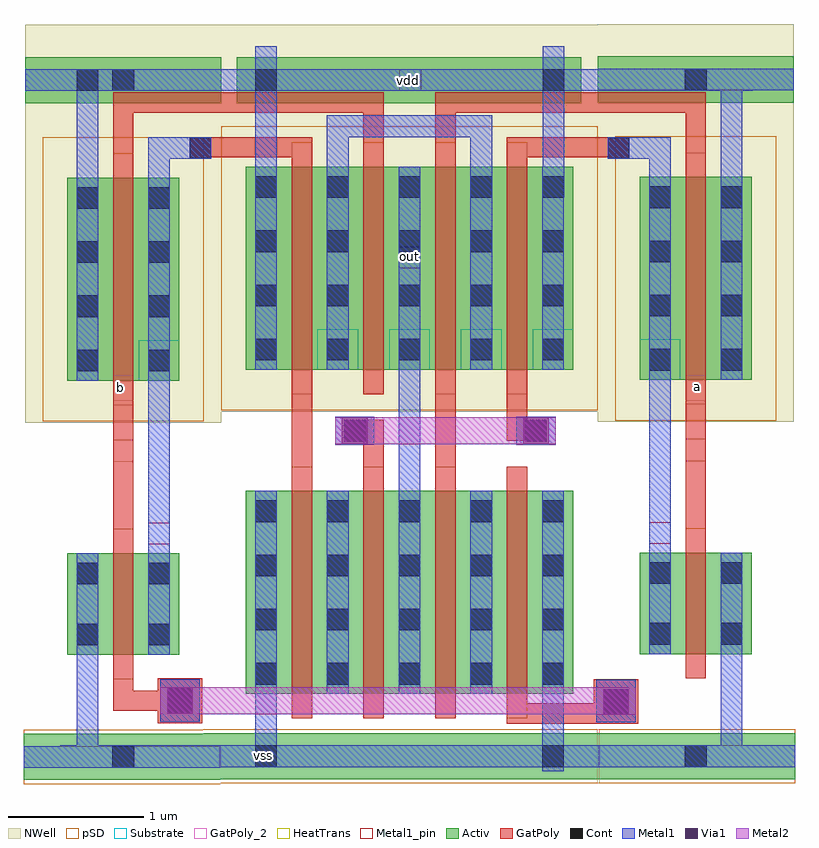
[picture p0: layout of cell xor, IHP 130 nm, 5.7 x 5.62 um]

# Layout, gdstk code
from math import pi, radians
import gdstk
lib = gdstk.Library(unit=1e-6, precision=5e-09)
def R(c, l, rs):  # rectangles x0, y0, x1, y1
    for r in rs: c.add(gdstk.rectangle(r[:2], r[2:], *l))
def A(c, l, x, y, w, h, nx, ny, dx, dy):  # array of equal rectangles
    R(c, l, [(x+i*dx, y+j*dy, x+i*dx+w, y+j*dy+h) for i in range(nx) for j in range(ny)])
Activ = (1, 0)
GatPoly = (5, 0)
GatPoly_2 = (5, 2)
Cont = (6, 0)
Metal1 = (8, 0)
Metal1_pin = (8, 2)
Metal2 = (10, 0)
pSD = (14, 0)
Via1 = (19, 0)
NWell = (31, 0)
Substrate = (40, 0)
HeatTrans = (51, 0)

pmos = lib.new_cell('pmos')
R(pmos, Activ, [(0,0,0.3,0.3), (0,0,0.83,1.5), (0.53,0,0.83,0.3)])
R(pmos, GatPoly, [(0.34,-0.18,0.49,1.68), (0.34,-0.18,0.49,1.68)])
A(pmos, Cont, 0.07, 0.07, 0.16, 0.16, 1, 4, 0, 0.4)
A(pmos, Cont, 0.6, 0.07, 0.16, 0.16, 1, 4, 0, 0.4)
R(pmos, Metal1, [(0.07,0,0.23,1.5), (0.07,0,0.23,1.5), (0.6,0,0.76,1.5), (0.6,0,0.76,1.5)])
R(pmos, pSD, [(-0.18,-0.3,1.01,1.8)])
R(pmos, NWell, [(-0.31,-0.31,1.14,1.81)])
R(pmos, Substrate, [(0.53,0,0.83,0.3)])
R(pmos, HeatTrans, [(0.34,-0.18,0.49,1.68)])
pmos.add(gdstk.Label('pmos', (0.415,0.75), layer=63, texttype=0))
pmos.add(gdstk.Label('pmos', (0.415,0.75), layer=51, texttype=0))

nmos = lib.new_cell('nmos')
R(nmos, Activ, [(0,0,0.3,0.3), (0,0,0.83,1.5), (0.53,0,0.83,0.3)])
R(nmos, GatPoly, [(0.34,-0.18,0.49,1.68)])
R(nmos, GatPoly_2, [(0.34,-0.18,0.49,1.68)])
A(nmos, Cont, 0.07, 0.07, 0.16, 0.16, 1, 4, 0, 0.4)
A(nmos, Cont, 0.6, 0.07, 0.16, 0.16, 1, 4, 0, 0.4)
R(nmos, Metal1, [(0.07,0,0.23,1.5), (0.6,0,0.76,1.5)])
R(nmos, Metal1_pin, [(0.07,0,0.23,1.5), (0.6,0,0.76,1.5)])
R(nmos, HeatTrans, [(0.34,-0.18,0.49,1.68)])
nmos.add(gdstk.Label('nmos', (0.415,0.75), layer=63, texttype=0))
nmos.add(gdstk.Label('nmos', (0.415,0.75), layer=51, texttype=0))

via_stack_1 = lib.new_cell('via_stack$1')
R(via_stack_1, Metal1, [(-0.145,-0.105,0.145,0.105)])
R(via_stack_1, Metal2, [(-0.145,-0.1,0.145,0.1)])
R(via_stack_1, Via1, [(-0.095,-0.095,0.095,0.095)])

m1_cont1_pmos = lib.new_cell('M1_Cont1_PMOS')
R(m1_cont1_pmos, Activ, [(-0.72,-0.175,0.73,0.165)])
R(m1_cont1_pmos, Cont, [(-0.075,-0.085,0.085,0.075)])
R(m1_cont1_pmos, Metal1, [(-0.72,-0.085,0.73,0.075)])
R(m1_cont1_pmos, Metal1_pin, [(-0.72,-0.085,0.73,0.075)])
R(m1_cont1_pmos, NWell, [(-0.72,-0.415,0.73,0.405)])

m1_bulkcont1_pmos = lib.new_cell('M1_BulkCont1_PMOS')
r = gdstk.Reference(m1_cont1_pmos, (-0.015,-0.015)); r.repetition = gdstk.Repetition(1, 1, v1=(0,0), v2=(0,0)); m1_bulkcont1_pmos.add(r)

m1_cont1_nmos = lib.new_cell('M1_Cont1_NMOS')
R(m1_cont1_nmos, Activ, [(-0.725,-0.175,0.725,0.165)])
R(m1_cont1_nmos, Cont, [(-0.07,-0.085,0.09,0.075)])
R(m1_cont1_nmos, Metal1, [(-0.725,-0.085,0.725,0.075)])
R(m1_cont1_nmos, Metal1_pin, [(-0.725,-0.085,0.725,0.075)])
R(m1_cont1_nmos, pSD, [(-0.725,-0.205,0.725,0.195)])

m1_bulkcont1_nmos = lib.new_cell('M1_BulkCont1_NMOS')
r = gdstk.Reference(m1_cont1_nmos, (0.005,0.01)); r.repetition = gdstk.Repetition(1, 1, v1=(0,0), v2=(0,0)); m1_bulkcont1_nmos.add(r)

nmos_2 = lib.new_cell('nmos$2')
R(nmos_2, Activ, [(0,0,0.3,0.3), (0,0,0.83,0.75), (0.53,0,0.83,0.3)])
R(nmos_2, GatPoly, [(0.34,-0.18,0.49,0.93)])
R(nmos_2, GatPoly_2, [(0.34,-0.18,0.49,0.93)])
R(nmos_2, Cont, [(0.07,0.07,0.23,0.23), (0.6,0.07,0.76,0.23), (0.07,0.52,0.23,0.68), (0.6,0.52,0.76,0.68)])
R(nmos_2, Metal1, [(0.07,0,0.23,0.75), (0.6,0,0.76,0.75)])
R(nmos_2, Metal1_pin, [(0.07,0,0.23,0.75), (0.6,0,0.76,0.75)])
R(nmos_2, HeatTrans, [(0.34,-0.18,0.49,0.93)])
nmos_2.add(gdstk.Label('nmos', (0.415,0.375), layer=63, texttype=0))
nmos_2.add(gdstk.Label('nmos', (0.415,0.375), layer=51, texttype=0))

pmos_1_1 = lib.new_cell('pmos$1$1')
R(pmos_1_1, Activ, [(0,0,0.3,0.3), (0,0,0.83,1.5), (0.53,0,0.83,0.3)])
R(pmos_1_1, GatPoly, [(0.34,-0.18,0.49,1.68), (0.34,-0.18,0.49,1.68)])
A(pmos_1_1, Cont, 0.07, 0.07, 0.16, 0.16, 1, 4, 0, 0.4)
A(pmos_1_1, Cont, 0.6, 0.07, 0.16, 0.16, 1, 4, 0, 0.4)
R(pmos_1_1, Metal1, [(0.07,0,0.23,1.5), (0.07,0,0.23,1.5), (0.6,0,0.76,1.5), (0.6,0,0.76,1.5)])
R(pmos_1_1, pSD, [(-0.18,-0.3,1.01,1.8)])
R(pmos_1_1, NWell, [(-0.31,-0.31,1.14,1.81)])
R(pmos_1_1, Substrate, [(0.53,0,0.83,0.3)])
R(pmos_1_1, HeatTrans, [(0.34,-0.18,0.49,1.68)])
pmos_1_1.add(gdstk.Label('pmos', (0.415,0.75), layer=63, texttype=0))
pmos_1_1.add(gdstk.Label('pmos', (0.415,0.75), layer=51, texttype=0))

inverter_1 = lib.new_cell('inverter$1')
R(inverter_1, GatPoly, [(-0.075,-1.72,0.075,0.805)])
R(inverter_1, GatPoly_2, [(-0.075,-0.425,0.075,-0.26)])
R(inverter_1, Cont, [(-0.08,-2.685,0.08,-2.525), (-0.08,2.315,0.08,2.475)])
R(inverter_1, Metal1, [(-0.345,-2.685,-0.185,-1.72), (0.185,-1.72,0.345,0.805), (-0.345,1.37,-0.185,2.475)])
R(inverter_1, Metal1_pin, [(-0.08,-2.685,0.08,-2.525), (0.185,-1.035,0.345,-0.875), (-0.08,2.315,0.08,2.475)])
inverter_1.add(gdstk.Reference(m1_bulkcont1_pmos, (0.01,2.415)))
inverter_1.add(gdstk.Reference(m1_bulkcont1_nmos, (-0.015,-2.61)))
inverter_1.add(gdstk.Reference(nmos_2, (-0.415,-1.85)))
inverter_1.add(gdstk.Reference(pmos_1_1, (-0.415,0.175)))
inverter_1.add(gdstk.Label('vdd', (-0.015,2.39), layer=8, texttype=2))
inverter_1.add(gdstk.Label('vss', (-0.01,-2.62), layer=8, texttype=2))
inverter_1.add(gdstk.Label('out', (0.27,-0.95), layer=8, texttype=2))
inverter_1.add(gdstk.Label('in', (-0.025,-0.34), layer=5, texttype=2))

m1_cont1_pmos_1 = lib.new_cell('M1_Cont1_PMOS$1')
R(m1_cont1_pmos_1, Activ, [(-0.72,-0.175,0.73,0.165)])
R(m1_cont1_pmos_1, Cont, [(-0.075,-0.085,0.085,0.075)])
R(m1_cont1_pmos_1, Metal1, [(-0.72,-0.085,0.73,0.075)])
R(m1_cont1_pmos_1, Metal1_pin, [(-0.72,-0.085,0.73,0.075)])
R(m1_cont1_pmos_1, NWell, [(-0.72,-0.415,0.73,0.405)])

m1_bulkcont1_pmos_1 = lib.new_cell('M1_BulkCont1_PMOS$1')
r = gdstk.Reference(m1_cont1_pmos_1, (-0.015,-0.015)); r.repetition = gdstk.Repetition(1, 1, v1=(0,0), v2=(0,0)); m1_bulkcont1_pmos_1.add(r)

m1_cont1_nmos_1 = lib.new_cell('M1_Cont1_NMOS$1')
R(m1_cont1_nmos_1, Activ, [(-0.725,-0.175,0.725,0.165)])
R(m1_cont1_nmos_1, Cont, [(-0.07,-0.085,0.09,0.075)])
R(m1_cont1_nmos_1, Metal1, [(-0.725,-0.085,0.725,0.075)])
R(m1_cont1_nmos_1, Metal1_pin, [(-0.725,-0.085,0.725,0.075)])
R(m1_cont1_nmos_1, pSD, [(-0.725,-0.205,0.725,0.195)])

m1_bulkcont1_nmos_1 = lib.new_cell('M1_BulkCont1_NMOS$1')
r = gdstk.Reference(m1_cont1_nmos_1, (0.005,0.01)); r.repetition = gdstk.Repetition(1, 1, v1=(0,0), v2=(0,0)); m1_bulkcont1_nmos_1.add(r)

pmos_1 = lib.new_cell('pmos$1')
R(pmos_1, Activ, [(0,0,0.3,0.3), (0,0,0.83,1.5), (0.53,0,0.83,0.3)])
R(pmos_1, GatPoly, [(0.34,-0.18,0.49,1.68), (0.34,-0.18,0.49,1.68)])
A(pmos_1, Cont, 0.07, 0.07, 0.16, 0.16, 1, 4, 0, 0.4)
A(pmos_1, Cont, 0.6, 0.07, 0.16, 0.16, 1, 4, 0, 0.4)
R(pmos_1, Metal1, [(0.07,0,0.23,1.5), (0.07,0,0.23,1.5), (0.6,0,0.76,1.5), (0.6,0,0.76,1.5)])
R(pmos_1, pSD, [(-0.18,-0.3,1.01,1.8)])
R(pmos_1, NWell, [(-0.31,-0.31,1.14,1.81)])
R(pmos_1, Substrate, [(0.53,0,0.83,0.3)])
R(pmos_1, HeatTrans, [(0.34,-0.18,0.49,1.68)])
pmos_1.add(gdstk.Label('pmos', (0.415,0.75), layer=63, texttype=0))
pmos_1.add(gdstk.Label('pmos', (0.415,0.75), layer=51, texttype=0))

nmos_3 = lib.new_cell('nmos$3')
R(nmos_3, Activ, [(0,0,0.3,0.3), (0,0,0.83,0.75), (0.53,0,0.83,0.3)])
R(nmos_3, GatPoly, [(0.34,-0.18,0.49,0.93)])
R(nmos_3, GatPoly_2, [(0.34,-0.18,0.49,0.93)])
R(nmos_3, Cont, [(0.07,0.07,0.23,0.23), (0.6,0.07,0.76,0.23), (0.07,0.52,0.23,0.68), (0.6,0.52,0.76,0.68)])
R(nmos_3, Metal1, [(0.07,0,0.23,0.75), (0.6,0,0.76,0.75)])
R(nmos_3, Metal1_pin, [(0.07,0,0.23,0.75), (0.6,0,0.76,0.75)])
R(nmos_3, HeatTrans, [(0.34,-0.18,0.49,0.93)])
nmos_3.add(gdstk.Label('nmos', (0.415,0.375), layer=63, texttype=0))
nmos_3.add(gdstk.Label('nmos', (0.415,0.375), layer=51, texttype=0))

inverter = lib.new_cell('inverter')
R(inverter, GatPoly, [(-0.075,-1.235,0.075,0.805)])
R(inverter, GatPoly_2, [(-0.075,-0.425,0.075,-0.26)])
R(inverter, Cont, [(-0.08,-2.685,0.08,-2.525), (-0.08,2.315,0.08,2.475)])
R(inverter, Metal1, [(-0.345,-2.685,-0.185,-1.72), (0.185,-1.305,0.345,0.805), (-0.345,1.37,-0.185,2.475)])
R(inverter, Metal1_pin, [(-0.08,-2.685,0.08,-2.525), (0.185,-1.035,0.345,-0.875), (-0.08,2.315,0.08,2.475)])
inverter.add(gdstk.Reference(m1_bulkcont1_pmos_1, (0.01,2.415)))
inverter.add(gdstk.Reference(m1_bulkcont1_nmos_1, (-0.015,-2.61)))
inverter.add(gdstk.Reference(pmos_1, (-0.415,0.175)))
inverter.add(gdstk.Reference(nmos_3, (-0.415,-1.85)))
inverter.add(gdstk.Label('vdd', (-0.015,2.39), layer=8, texttype=2))
inverter.add(gdstk.Label('vss', (-0.01,-2.62), layer=8, texttype=2))
inverter.add(gdstk.Label('out', (0.27,-0.95), layer=8, texttype=2))
inverter.add(gdstk.Label('in', (-0.025,-0.34), layer=5, texttype=2))

xor = lib.new_cell('xor')
R(xor, Activ, [(-2.935,-1.835,0.08,-1.495), (-2.685,3.16,-1.21,3.5), (-1.615,3.16,-0.14,3.5)])
R(xor, GatPoly, [(-0.69,-1.425,-0.54,-1.085), (-0.69,-1.425,0.21,-1.275), (-0.05,-1.425,0.28,-1.095), (-3.27,-1.42,-2.94,-1.09), (-2.28,0.22,-2.13,1.195), (-1.895,0.66,-1.75,0.67), (-0.54,0.81,-0.395,0.82), (-3.6,0.96,-3.45,1.15), (-3.6,0.96,-3.45,1.15), (0.63,0.96,0.78,1.15), (-1.75,2.46,-1.6,3.24), (-1.22,2.69,-1.07,3.09), (-3.035,2.75,-2.875,2.76), (0.055,2.75,0.215,2.76), (-3.035,2.76,-2.13,2.91), (-0.69,2.76,0.215,2.91), (-1.22,3.09,-1.07,3.24)])
R(xor, GatPoly_2, [(-3.6,0.96,-3.45,1.15), (0.63,0.96,0.78,1.15)])
R(xor, Cont, [(-2.55,-1.745,-2.39,-1.585), (-0.43,-1.745,-0.27,-1.585), (-0.43,-1.745,-0.27,-1.585), (0.02,-1.355,0.21,-1.165), (-3.2,-1.35,-3.01,-1.16), (-1.895,0.66,-1.735,0.82), (-0.555,0.66,-0.395,0.82), (-3.035,2.75,-2.875,2.91), (0.055,2.75,0.215,2.91), (-3.87,3.25,-3.71,3.41), (-3.87,3.25,-3.71,3.41), (-2.55,3.25,-2.39,3.41), (-0.425,3.25,-0.265,3.41), (-0.425,3.25,-0.265,3.41)])
R(xor, Metal1, [(-3.99,-1.745,1.305,-1.585), (-0.03,-1.415,0.26,-1.1), (-3.25,-1.41,-2.96,-1.095), (-2.55,2.465,-2.39,3.58), (-0.425,2.465,-0.265,3.58), (-3.97,3.25,1.125,3.41)])
R(xor, Metal1_pin, [(-2.55,-1.745,-2.39,-1.585), (-1.49,1.94,-1.33,2.1), (-1.485,3.25,-1.325,3.41)])
R(xor, pSD, [(-2.935,-1.865,-0.02,-1.465)])
R(xor, NWell, [(-2.935,3,-0.955,3.74), (-1.865,3,0.115,3.74)])
xor.add(gdstk.FlexPath([(-1.6,3.165),(-3.525,3.165),(-3.525,2.88),(-3.525,2.65)], 0.15, ends="flush", simple_path=True, layer=5, datatype=0))  # GatPoly
xor.add(gdstk.FlexPath([(-3.2,-1.255),(-3.525,-1.255),(-3.525,-0.915)], 0.15, ends="flush", simple_path=True, layer=5, datatype=0))  # GatPoly
xor.add(gdstk.FlexPath([(-1.15,3.165),(0.705,3.165),(0.705,2.875),(0.705,2.655)], 0.15, ends="flush", simple_path=True, layer=5, datatype=0))  # GatPoly
xor.add(gdstk.FlexPath([(-1.145,1.19),(-1.145,0.295),(-1.145,0.295)], 0.15, ends="flush", simple_path=True, layer=5, datatype=0))  # GatPoly
xor.add(gdstk.FlexPath([(-1.675,0.295),(-1.675,0.745),(-1.895,0.745)], 0.15, ends="flush", simple_path=True, layer=5, datatype=0))  # GatPoly
xor.add(gdstk.FlexPath([(-0.615,1.19),(-0.615,0.74),(-0.395,0.74),(-0.395,0.74)], 0.15, ends="flush", simple_path=True, layer=5, datatype=0))  # GatPoly
xor.add(gdstk.FlexPath([(-2.875,2.83),(-3.26,2.83),(-3.26,2.32)], 0.16, ends="flush", simple_path=True, layer=8, datatype=0))  # Metal1
xor.add(gdstk.FlexPath([(0.055,2.83),(0.44,2.83),(0.44,2.35)], 0.16, ends="flush", simple_path=True, layer=8, datatype=0))  # Metal1
xor.add(gdstk.FlexPath([(-2.47,-0.975),(-2.47,-1.745)], 0.16, ends="flush", simple_path=True, layer=8, datatype=0))  # Metal1
xor.add(gdstk.FlexPath([(-1.41,1.345),(-1.41,0.01),(-1.41,-0.07),(-1.41,-0.07)], 0.16, ends="flush", simple_path=True, layer=8, datatype=0))  # Metal1
xor.add(gdstk.FlexPath([(-0.35,-1.11),(-0.35,-1.75),(-0.35,-1.775)], 0.16, ends="flush", simple_path=True, layer=8, datatype=0))  # Metal1
xor.add(gdstk.FlexPath([(-1.94,2.58),(-1.94,2.99),(-0.88,2.99),(-0.88,2.58)], 0.16, ends="flush", simple_path=True, layer=8, datatype=0))  # Metal1
xor.add(gdstk.FlexPath([(-3.2,-1.255),(0.21,-1.255)], 0.2, ends="flush", simple_path=True, layer=10, datatype=0))  # Metal2
xor.add(gdstk.FlexPath([(-1.91,0.74),(-0.38,0.74),(-0.38,0.74)], 0.2, ends="flush", simple_path=True, layer=10, datatype=0))  # Metal2
xor.add(gdstk.Reference(pmos, (-1.56,1.19)))
xor.add(gdstk.Reference(pmos, (-2.62,1.19)))
xor.add(gdstk.Reference(pmos, (-1.03,1.19)))
xor.add(gdstk.Reference(pmos, (-2.09,1.19)))
xor.add(gdstk.Reference(nmos, (-1.56,-1.205)))
xor.add(gdstk.Reference(nmos, (-1.03,-1.205)))
xor.add(gdstk.Reference(nmos, (-2.09,-1.205)))
xor.add(gdstk.Reference(nmos, (-2.62,-1.205)))
xor.add(gdstk.Reference(via_stack_1, (-3.105,-1.255)))
xor.add(gdstk.Reference(via_stack_1, (0.115,-1.26)))
xor.add(gdstk.Reference(via_stack_1, (-1.815,0.74)))
xor.add(gdstk.Reference(via_stack_1, (-0.475,0.74), rotation=pi, x_reflection=True))
xor.add(gdstk.Reference(inverter_1, (-3.525,0.935)))
xor.add(gdstk.Reference(inverter, (0.705,0.94), rotation=pi, x_reflection=True))
xor.add(gdstk.Label('vss', (-2.485,-1.66), layer=8, texttype=2))
xor.add(gdstk.Label('out', (-1.41,2.03), layer=8, texttype=2))
xor.add(gdstk.Label('vdd', (-1.42,3.325), layer=8, texttype=2))
xor.add(gdstk.Label('a', (0.72,1.065), layer=5, texttype=2))
xor.add(gdstk.Label('b', (-3.545,1.06), layer=5, texttype=2))

lib.write_gds('xor.gds')
